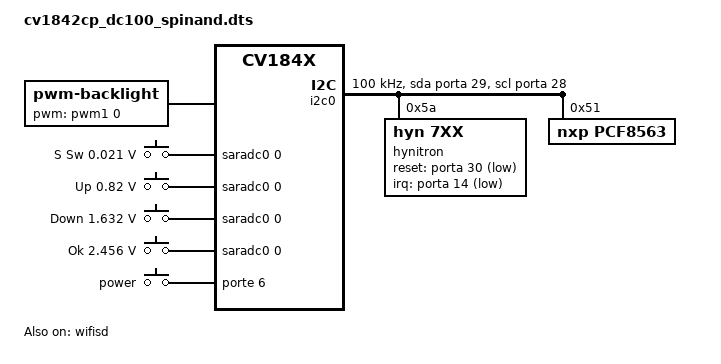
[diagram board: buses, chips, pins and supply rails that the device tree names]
/dts-v1/;
#include "cv184x_base_arm.dtsi"
#include "cv184x_asic_qfn.dtsi"
#include "cv184x_asic_spinand.dtsi"
#include "cv184x_default_memmap.dtsi"

/ {
	backlight: backlight {
		compatible = "pwm-backlight";
		pwms = <&pwm1 0 40000>;
		brightness-levels = <
			0   1   2   3   4   5   6   7
			8   9  10   11  12  13  14  15
			16  17  18  19  20  21  22  23
			24  25  26  27  28  29  30  31
			32  33  34  35  36  37  38  39
			40  41  42  43  44  45  46  47
			48  49  50  51  52  53  54  55
			56  57  58  59  60  61  62  63
			64  65  66  67  68  69  70  71
			72  73  74  75  76  77  78  79
			80  81  82  83  84  85  86  87
			88  89  90  91  92  93  94  95
			96  97  98  99  100 101 102 103
			104 105 106 107 108 109 110 111
			112 113 114 115 116 117 118 119
			120 121 122 123 124 125 126 127
			128 129 130 131 132 133 134 135
			136 137 138 139 140 141 142 143
			144 145 146 147 148 149 150 151
			152 153 154 155 156 157 158 159
			160 161 162 163 164 165 166 167
			168 169 170 171 172 173 174 175
			176 177 178 179 180 181 182 183
			184 185 186 187 188 189 190 191
			192 193 194 195 196 197 198 199
			200 201 202 203 204 205 206 207
			208 209 210 211 212 213 214 215
			216 217 218 219 220 221 222 223
			224 225 226 227 228 229 230 231
			232 233 234 235 236 237 238 239
			240 241 242 243 244 245 246 247
			248 249 250 251 252 253 254 255 >;
		default-brightness-level = <160>;
		post-pwm-on-delay-ms = <10>;
	};

	/delete-node/ ethernet@4070000;
	/delete-node/ keyscan@03040000;
        aliases {
		/delete-property/ ethernet0;
		// /delete-property/ serial2;
		// /delete-property/ serial3;
		// /delete-property/ serial4;
		// /delete-property/ i2c2;
		// /delete-property/ i2c3;
		// /delete-property/ i2c4;
	};

	adc-key1 {
		compatible = "adc-keys";
		io-channels = <&saradc0 0>; // ADC1
		io-channel-names = "buttons";
		keyup-threshold-microvolt = <4095000>; // raw value
		poll-interval = <50>; // ms
		debounce-steps = <2>; // 2次采样值相同才认为按键状态改变

		button-left {
			label = "S Sw";
			linux,code = <KEY_PLAY>;
			press-threshold-microvolt = <21000>;
		};

		button-up {
			label = "Up";
			linux,code = <KEY_UP>;
			press-threshold-microvolt = <820000>;
		};

		button-down {
			label = "Down";
			linux,code = <KEY_DOWN>;
			press-threshold-microvolt = <1632000>;
		};

		button-ok {
			label = "Ok";
			linux,code = <KEY_OK>;
			press-threshold-microvolt = <2456000>;
		};
	};

	power-key {
		compatible = "gpio-keys";
		power {
			label = "power";
			gpios = <&porte 6 GPIO_ACTIVE_HIGH>;
			linux,code = <KEY_POWER>;
		};
	};
};

&wifisd{
	status = "okay";
};

&wifi_pin{
	poweron-gpio = <&porta 19 GPIO_ACTIVE_HIGH>;
};

&i2c0 {
	status = "okay";
	/* FMUX_GPIO_REG iic_func_sel gpio_func_sel */
	scl-pinmux = <0x03001070 0x0 0x3>;	// CV_SCL(0)/XGPIOA[28](3)
	sda-pinmux = <0x03001074 0x0 0x3>;	// CV_SDA(0)/XGPIOA[29](3)
	/* gpio port */
	scl-gpios = <&porta 28 GPIO_ACTIVE_HIGH>;
	sda-gpios = <&porta 29 GPIO_ACTIVE_HIGH>;
	clock-frequency = <100000>;

	hynitron@5A {
		compatible = "hyn,7xx";
		reg = <0x5A>;
		reset-gpio = <&porta 30 GPIO_ACTIVE_LOW>;
		irq-gpio = <&porta 14 GPIO_ACTIVE_LOW>;
		max-touch-number = <5>;
		display-coords = <0 0 360 640>;
		pos-swap = <1>;
		posx-reverse = <0>;
		posy-reverse = <1>;
	};

	pcf8563: pcf8563@51 {
		compatible = "nxp,pcf8563";
		reg = <0x51>;
		#clock-cells = <0>;
	};
};
